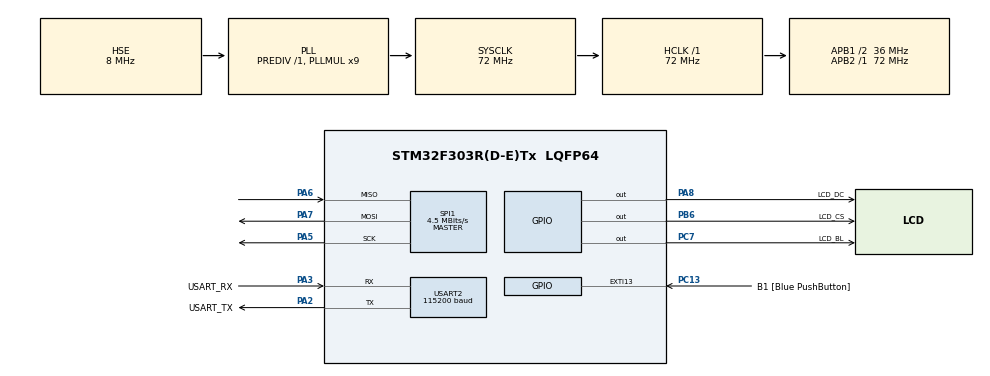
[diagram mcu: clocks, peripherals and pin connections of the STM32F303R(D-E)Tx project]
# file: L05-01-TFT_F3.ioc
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Mcu.Family=STM32F3
PA2.GPIO_PuPd=GPIO_NOPULL
PA6.Mode=Full_Duplex_Master
RCC.CortexFreq_Value=72000000
SPI1.VirtualType=VM_MASTER
PA14.GPIO_Label=TCK
RCC.SYSCLKSourceVirtual=RCC_SYSCLKSOURCE_PLLCLK
PA3.GPIO_PuPd=GPIO_NOPULL
PA2.GPIO_Speed=GPIO_SPEED_FREQ_LOW
PB6.GPIO_Label=LCD_CS
PC13.GPIO_Label=B1 [Blue PushButton]
PA3.GPIO_Speed=GPIO_SPEED_FREQ_LOW
ProjectManager.StackSize=0x400
SPI1.CLKPolarity=SPI_POLARITY_HIGH
SPI1.Direction=SPI_DIRECTION_2LINES
RCC.HCLKFreq_Value=72000000
RCC.APB2TimFreq_Value=72000000
PB6.Signal=GPIO_Output
PC7.Signal=GPIO_Output
SPI1.CalculateBaudRate=4.5 MBits/s
RCC.AHBFreq_Value=72000000
RCC.HSE_VALUE=8000000
USART2.VirtualMode-Asynchronous=VM_ASYNC
RCC.RCC_PLLsource_Clock_Source_FROM_HSE=RCC_HSE_PREDIV_DIV2
RCC.PLLMUL=RCC_PLL_MUL9
PA6.GPIO_PuPd=GPIO_NOPULL
PA14.Mode=Serial_Wire
SPI1.DataSize=SPI_DATASIZE_8BIT
PA8.Signal=GPIO_Output
Mcu.Package=LQFP64
PA6.Signal=SPI1_MISO
PB6.GPIO_FM6=SYSCFG_CFGR1_I2C_PB6_FMP
PA2.GPIO_Label=USART_TX
RCC.APB1TimFreq_Value=72000000
PA6.GPIO_Speed=GPIO_SPEED_FREQ_HIGH
PF1-OSC_OUT.Mode=HSE-External-Oscillator
SPI1.BaudRatePrescaler=SPI_BAUDRATEPRESCALER_16
PA8.GPIO_Speed=GPIO_SPEED_FREQ_HIGH
PF1-OSC_OUT.Signal=RCC_OSC_OUT
PA3.Signal=USART2_RX
PA5.Mode=Full_Duplex_Master
PA2.GPIO_Mode=GPIO_MODE_AF_PP
PB3.GPIO_Label=SWO
RCC.PLLSourceVirtual=RCC_PLLSOURCE_HSE
PA7.Mode=Full_Duplex_Master
PC13.Signal=GPXTI13
SPI1.CLKPhase=SPI_PHASE_2EDGE
RCC.APB1CLKDivider=RCC_HCLK_DIV2
PC14-OSC32_IN.Signal=RCC_OSC32_IN
USART2.BaudRate=115200
PA13.Signal=SYS_JTMS-SWDIO
PA3.Mode=Asynchronous
PA8.GPIO_Label=LCD_DC
ProjectManager.TargetToolchain=STM32CubeIDE
PA3.GPIO_Mode=GPIO_MODE_AF_PP
RCC.USBFreq_Value=72000000
RCC.LSE_VALUE=32768
PC15-OSC32_OUT.Signal=RCC_OSC32_OUT
PF0-OSC_IN.Mode=HSE-External-Oscillator
PA5.Signal=SPI1_SCK
board=NUCLEO-F303RE
PC7.GPIO_Speed=GPIO_SPEED_FREQ_HIGH
PA7.GPIO_Speed=GPIO_SPEED_FREQ_HIGH
RCC.APB2Freq_Value=72000000
SPI1.Mode=SPI_MODE_MASTER
PA13.Mode=Serial_Wire
Mcu.Name=STM32F303R(D-E)Tx
PA13.GPIO_Label=TMS
PA2.Signal=USART2_TX
PC7.GPIO_Label=LCD_BL
PB3.Signal=SYS_JTDO-TRACESWO
RCC.SYSCLKFreq_VALUE=72000000
PC13.GPIO_ModeDefaultEXTI=GPIO_MODE_IT_FALLING
PA14.Signal=SYS_JTCK-SWCLK
ProjectManager.HeapSize=0x200
RCC.HSI_VALUE=8000000
RCC.PLLP=RCC_PLLP_DIV4
PA5.GPIO_Speed=GPIO_SPEED_FREQ_HIGH
RCC.PLLQ=7
NVIC.PriorityGroup=NVIC_PRIORITYGROUP_0
RCC.PLLM=8
RCC.PLLN=336
PA2.Mode=Asynchronous
PF0-OSC_IN.Signal=RCC_OSC_IN
PB6.GPIO_Speed=GPIO_SPEED_FREQ_HIGH
RCC.APB1Freq_Value=36000000
PA3.GPIO_Label=USART_RX
PA7.Signal=SPI1_MOSI

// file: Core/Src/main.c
/* USER CODE BEGIN Header */
/**
  ******************************************************************************
  * @file           : main.c
  * @brief          : Main program body
  ******************************************************************************
  * @attention
  *
  * <h2><center>&copy; Copyright (c) 2021 STMicroelectronics.
  * All rights reserved.</center></h2>
  *
  * This software component is licensed by ST under BSD 3-Clause license,
  * the "License"; You may not use this file except in compliance with the
  * License. You may obtain a copy of the License at:
  *                        opensource.org/licenses/BSD-3-Clause
  *
  ******************************************************************************
  */
/* USER CODE END Header */
#include "main.h"
#include "spi.h"
#include "usart.h"
#include "gpio.h"

/* USER CODE BEGIN Includes */
#include "lcd_driver.h"
/* USER CODE END Includes */

void SystemClock_Config(void);

int main(void)
{
  /* USER CODE BEGIN 1 */
  uint8_t temp_id=53;
  uint8_t RotationCnt = 0;
  /* USER CODE END 1 */

  /* MCU Configuration--------------------------------------------------------*/

  /* Reset of all peripherals, Initializes the Flash interface and the Systick. */
  HAL_Init();

  /* Configure the system clock */
  SystemClock_Config();

  /* Initialize all configured peripherals */
  MX_GPIO_Init();
  MX_SPI1_Init();
  MX_USART2_UART_Init();
  /* USER CODE BEGIN 2 */
  HAL_Delay(1000);
  lcd_init();
  //HAL_Delay(1000);
  //HAL_UART_Transmit(&huart2, &temp_id, 1, 1000);
  //lcd_clear_screen(WHITE);
  //HAL_Delay(1000);
  /* USER CODE END 2 */
  int X_MAX = 240;
  int X_MIN = 0;
  int Y_MAX = 320;
  int Y_MIN = 0;
  int x = 25;
  int y = 160;

  int HOR_DIRECTION = 1;
  int VER_DIRECTION = 1;

  /* Infinite loop */
  while (1)
  {

    /* USER CODE BEGIN 3 */
	  if (HOR_DIRECTION == 1) {
		  x += 6;
	  } else {
		  x -= 6;
	  }

	  if (VER_DIRECTION == 1) {
	  	y += 8;
	  } else {
	  	y -= 8;
	  }

	  lcd_draw_circle(x, y, 25, RED);
	  HAL_Delay(100);
	  lcd_draw_circle(x, y, 25, WHITE);

	  if (x > X_MAX - 25) {
		  HOR_DIRECTION = 0;
	  } else if (x < X_MIN + 25) {
		  HOR_DIRECTION = 1;
	  }

	  if (y > Y_MAX - 25) {
		  VER_DIRECTION = 0;
	  } else if (y < Y_MIN + 25) {
		  VER_DIRECTION = 1;
	 }

		//
		// TEXT
		//
	    //setRotation((RotationCnt++)%4);
		//lcd_display_string(43, 100, (const uint8_t *) "Embedded Systems", FONT_1608, RED);
		//lcd_display_string(40, 120, (const uint8_t *) "WI ZUT 22.04.2021", FONT_1608, BLUE);

		//
		// SHAPES
		//
		//lcd_draw_rect(95, 135, 50, 50, BLUE);
		//lcd_fill_rect(95, 210, 50, 50, GRAY);
		//
		// COLORS
		//
//		lcd_clear_screen(BLUE);
//		HAL_Delay(100);
//		lcd_clear_screen(RED);
//		HAL_Delay(100);
//		lcd_clear_screen(GREEN);
//		HAL_Delay(100);
//		lcd_clear_screen(WHITE);
//		HAL_Delay(100);
//		lcd_clear_screen(BRED);
//		HAL_Delay(100);
//		lcd_clear_screen(GRED);
//		HAL_Delay(100);
//		lcd_clear_screen(GBLUE);
//		HAL_Delay(100);
//		lcd_clear_screen(RED);
//		HAL_Delay(100);
//		lcd_clear_screen(MAGENTA);
//		HAL_Delay(100);
//		lcd_clear_screen(GREEN);
//		HAL_Delay(100);
//		lcd_clear_screen(CYAN);
//		HAL_Delay(100);
//		lcd_clear_screen(YELLOW);
//		HAL_Delay(100);
//		lcd_clear_screen(BROWN);
//		HAL_Delay(100);
//		lcd_clear_screen(BRRED);
//		HAL_Delay(100);
//		lcd_clear_screen(GRAY);
//		HAL_Delay(100);
//		lcd_clear_screen(WHITE);
	  //HAL_Delay(10);
	  //temp_id = lcd_read_id();
	  //HAL_UART_Transmit(&huart2, &temp_id, 1, 1000);

	  //HAL_Delay(500);
	  //HAL_UART_Transmit(&huart2, (&(uint8_t){0x55}), 1, 1000);

  }
  /* USER CODE END 3 */
}

void SystemClock_Config(void)
{
  RCC_OscInitTypeDef RCC_OscInitStruct = {0};
  RCC_ClkInitTypeDef RCC_ClkInitStruct = {0};
  RCC_PeriphCLKInitTypeDef PeriphClkInit = {0};

  /** Initializes the RCC Oscillators according to the specified parameters
  * in the RCC_OscInitTypeDef structure.
  */
  RCC_OscInitStruct.OscillatorType = RCC_OSCILLATORTYPE_HSE;
  RCC_OscInitStruct.HSEState = RCC_HSE_ON;
  RCC_OscInitStruct.HSIState = RCC_HSI_ON;
  RCC_OscInitStruct.PLL.PLLState = RCC_PLL_ON;
  RCC_OscInitStruct.PLL.PLLSource = RCC_PLLSOURCE_HSE;
  RCC_OscInitStruct.PLL.PLLMUL = RCC_PLL_MUL9;
  RCC_OscInitStruct.PLL.PREDIV = RCC_PREDIV_DIV1;
  if (HAL_RCC_OscConfig(&RCC_OscInitStruct) != HAL_OK)
  {
    Error_Handler();
  }
  /** Initializes the CPU, AHB and APB buses clocks
  */
  RCC_ClkInitStruct.ClockType = RCC_CLOCKTYPE_HCLK|RCC_CLOCKTYPE_SYSCLK
                              |RCC_CLOCKTYPE_PCLK1|RCC_CLOCKTYPE_PCLK2;
  RCC_ClkInitStruct.SYSCLKSource = RCC_SYSCLKSOURCE_PLLCLK;
  RCC_ClkInitStruct.AHBCLKDivider = RCC_SYSCLK_DIV1;
  RCC_ClkInitStruct.APB1CLKDivider = RCC_HCLK_DIV2;
  RCC_ClkInitStruct.APB2CLKDivider = RCC_HCLK_DIV1;

  if (HAL_RCC_ClockConfig(&RCC_ClkInitStruct, FLASH_LATENCY_2) != HAL_OK)
  {
    Error_Handler();
  }
  PeriphClkInit.PeriphClockSelection = RCC_PERIPHCLK_USART2;
  PeriphClkInit.Usart2ClockSelection = RCC_USART2CLKSOURCE_PCLK1;
  if (HAL_RCCEx_PeriphCLKConfig(&PeriphClkInit) != HAL_OK)
  {
    Error_Handler();
  }
}

void Error_Handler(void)
{
  __disable_irq();
  while (1)
  {
  }
}

/************************ (C) COPYRIGHT STMicroelectronics *****END OF FILE****/
